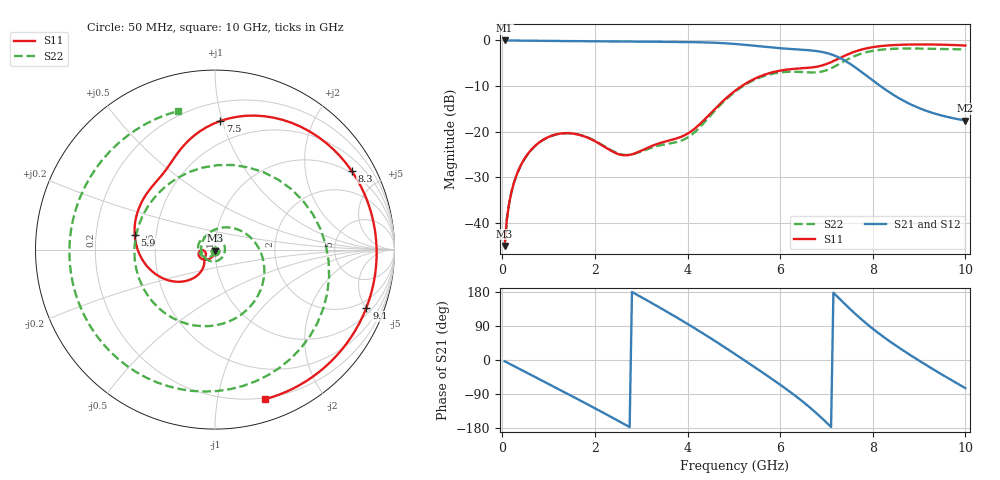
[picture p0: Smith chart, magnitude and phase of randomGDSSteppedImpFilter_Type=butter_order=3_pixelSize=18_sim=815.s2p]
! freq	dB(S11)	phase(S11)	dB(S12)	phase(S12)
!  dB(S21)	phase(S21)	dB(S22)	phase(S22)
!S-par simulation data
#  GHz  S  DB  R 50
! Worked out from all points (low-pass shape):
!   200 points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, 50 MHz to 10 GHz, reference 50 ohm
!   highest |S21| = -0.01 dB at 50 MHz (marker M1); lowest = -17.6 dB at 10 GHz (marker M2)
!   |S21| within 3 dB of the highest: start of sweep to 7.087 GHz
!   lowest |S11| = -45.1 dB at 50 MHz (marker M3), VSWR 1.01, Z = 50 - j0.554 ohm
!   |S11| at or under -10 dB: start of sweep to 5.173 GHz
!   |S22| runs from -45.1 to -1.8 dB; largest |S21 - S12| = 0
!   S11 on the Smith chart (normalised r, x): 50 MHz: 1.00, -0.01; 5.9 GHz: 0.38, +0.08; 7.5 GHz: 0.33, +0.98; 8.3 GHz: 0.91, +3.51; 9.1 GHz: 1.41, -4.99; 10 GHz: 0.19, -1.37
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0.05  -45.13 -88.2  -0.01 -3.2  -0.01 -3.2  -45.15 -89.3
0.2  -33.16 -99.4  -0.02 -12.8  -0.02 -12.8  -33.19 -103.9
0.55  -24.93 -118.8  -0.06 -34.9  -0.06 -34.9  -24.97 -131.5
1.15  -20.65 -148.5  -0.13 -72.9  -0.13 -72.9  -20.67 -178.8
1.75  -20.98 -171.6  -0.17 -111.2  -0.17 -111.2  -20.95 127.6
2.6  -25.17 -163.8  -0.22 -167.0  -0.22 -167.0  -25.07 10.2
3.4  -22.54 -140.5  -0.30 138.3  -0.30 138.3  -23.03 -121.3
4.2  -18.97 -124.2  -0.39 80.4  -0.39 80.4  -19.71 101.6
4.6  -14.94 -124.8  -0.51 49.6  -0.51 49.6  -15.31 40.2
5.05  -10.87 -141.5  -0.80 13.7  -0.80 13.7  -11.08 -14.2
5.45  -8.41 -163.4  -1.18 -19.0  -1.18 -19.0  -8.62 -57.1
5.9  -6.83 169.5  -1.63 -56.6  -1.63 -56.6  -7.18 -104.9
6.35  -6.21 143.8  -1.97 -96.6  -1.97 -96.6  -6.88 -159.2
6.7  -5.92 127.4  -2.23 -131.4  -2.23 -131.4  -7.03 146.2
7.1  -4.77 111.1  -3.05 -176.7  -3.05 -176.7  -6.12 68.0
7.5  -2.89 87.7  -5.07 135.6  -5.07 135.6  -3.93 -5.6
7.9  -1.66 58.7  -8.01 92.3  -8.01 92.3  -2.50 -61.2
8.3  -1.12 30.0  -10.98 55.0  -10.98 55.0  -1.92 -104.1
8.35  -1.09 26.6  -11.31 50.6  -11.31 50.6  -1.89 -108.9
9.1  -0.88 -21.1  -15.24 -9.3  -15.24 -9.3  -1.80 -174.9
9.5  -0.94 -44.0  -16.51 -38.8  -16.51 -38.8  -1.89 150.3
10  -1.12 -71.6  -17.57 -74.2  -17.57 -74.2  -1.95 105.0
